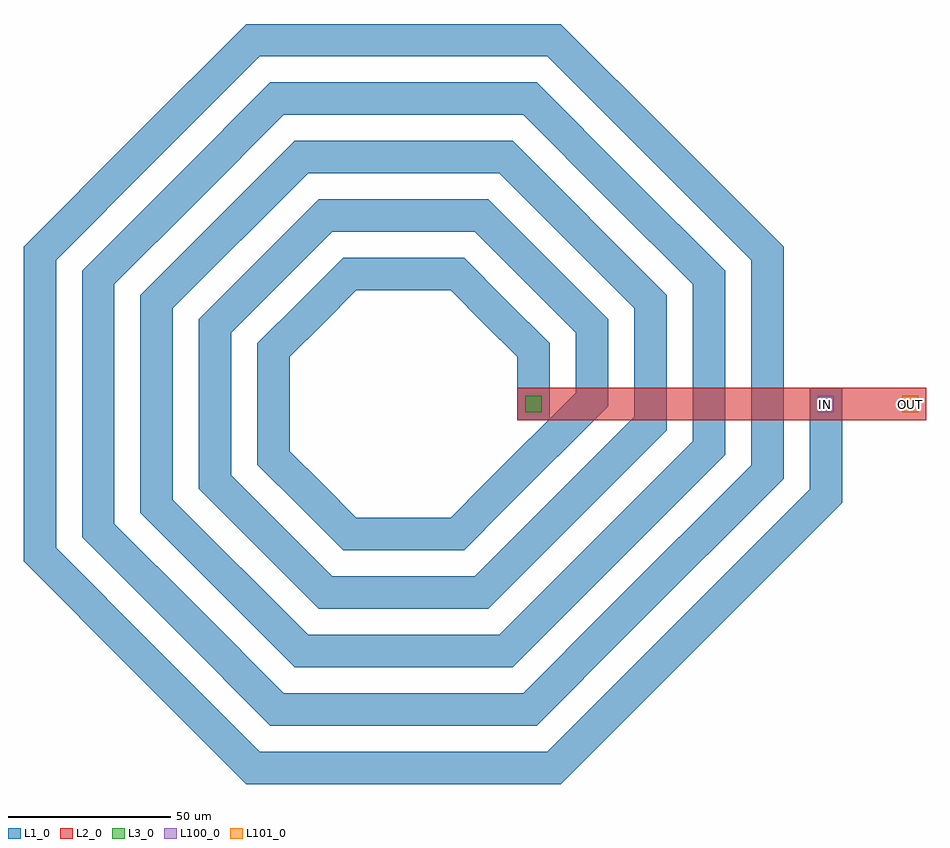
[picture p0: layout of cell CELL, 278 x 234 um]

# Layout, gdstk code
import gdstk
lib = gdstk.Library(unit=1e-6, precision=1e-09)
def R(c, l, rs):  # rectangles x0, y0, x1, y1
    for r in rs: c.add(gdstk.rectangle(r[:2], r[2:], *l))
L1_0 = (1, 0)
L2_0 = (2, 0)
L3_0 = (3, 0)
L100_0 = (100, 0)
L101_0 = (101, 0)

cell = lib.new_cell('CELL')
R(cell, L2_0, [(35,-5,161,5)])
R(cell, L3_0, [(37.5,-2.5,42.5,2.5)])
R(cell, L100_0, [(127.5,-2.5,132.5,2.5)])
R(cell, L101_0, [(153.5,-2.5,158.5,2.5)])
cell.add(gdstk.FlexPath([(40,0),(40,16.569),(28.284,28.284),(16.569,40),(-16.569,40),(-28.284,28.284),(-40,16.569),(-40,-16.569),(-28.284,-28.284),(-16.569,-40),(16.569,-40),(28.284,-28.284),(58,1.432),(58,24.024),(24.024,58),(-24.024,58),(-58,24.024),(-58,-24.024),(-24.024,-58),(24.024,-58),(76,-6.024),(76,31.48),(31.48,76),(-31.48,76),(-76,31.48),(-76,-31.48),(-31.48,-76),(31.48,-76),(94,-13.48),(94,38.936),(66.468,66.468),(38.936,94),(-38.936,94),(-66.468,66.468),(-94,38.936),(-94,-38.936),(-66.468,-66.468),(-38.936,-94),(38.936,-94),(66.468,-66.468),(112,-20.936),(112,46.392),(79.196,79.196),(46.392,112),(-46.392,112),(-79.196,79.196),(-112,46.392),(-112,-46.392),(-79.196,-79.196),(-46.392,-112),(46.392,-112),(79.196,-79.196),(130,-28.392),(130,0)], 10, ends="extended", simple_path=True, layer=1, datatype=0))  # L1_0
cell.add(gdstk.Label('IN', (130,0), layer=100, texttype=0))
cell.add(gdstk.Label('OUT', (156,0), layer=101, texttype=0))

lib.write_gds('CELL.gds')
